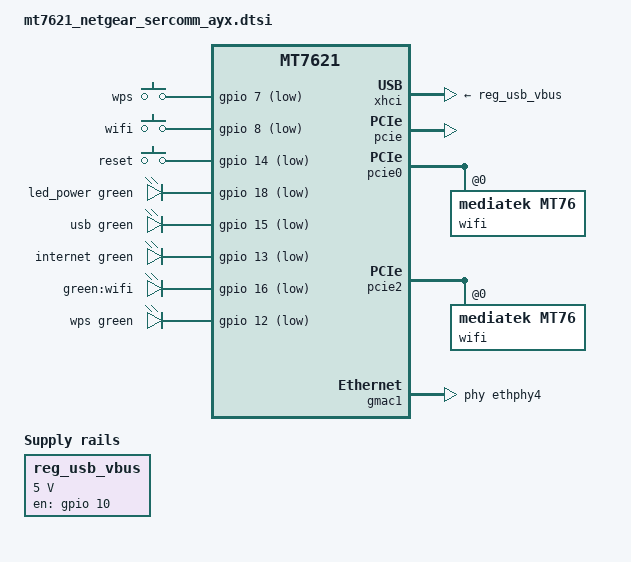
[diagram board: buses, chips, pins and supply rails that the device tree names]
// SPDX-License-Identifier: GPL-2.0-only

#include "mt7621.dtsi"

#include <dt-bindings/gpio/gpio.h>
#include <dt-bindings/input/input.h>
#include <dt-bindings/leds/common.h>

/ {
	compatible = "mediatek,mt7621-soc";

	aliases {
		led-boot = &led_power;
		led-failsafe = &led_power;
		led-running = &led_power;
		led-upgrade = &led_power;
	};

	keys {
		compatible = "gpio-keys";

		wps {
			label = "wps";
			gpios = <&gpio 7 GPIO_ACTIVE_LOW>;
			linux,code = <KEY_WPS_BUTTON>;
		};

		wifi {
			label = "wifi";
			gpios = <&gpio 8 GPIO_ACTIVE_LOW>;
			linux,code = <KEY_RFKILL>;
		};

		reset {
			label = "reset";
			gpios = <&gpio 14 GPIO_ACTIVE_LOW>;
			linux,code = <KEY_RESTART>;
		};
	};

	leds {
		compatible = "gpio-leds";

		led_power: power {
			function = LED_FUNCTION_POWER;
			color = <LED_COLOR_ID_GREEN>;
			gpios = <&gpio 18 GPIO_ACTIVE_LOW>;
		};

		usb {
			function = LED_FUNCTION_USB;
			color = <LED_COLOR_ID_GREEN>;
			gpios = <&gpio 15 GPIO_ACTIVE_LOW>;
			trigger-sources = <&xhci_ehci_port1>, <&ehci_port2>;
			linux,default-trigger = "usbport";
		};

		internet {
			function = LED_FUNCTION_WAN;
			color = <LED_COLOR_ID_GREEN>;
			gpios = <&gpio 13 GPIO_ACTIVE_LOW>;
		};

		wifi {
			label = "green:wifi";
			gpios = <&gpio 16 GPIO_ACTIVE_LOW>;
			linux,default-trigger = "phy0tpt";
		};

		wps {
			function = LED_FUNCTION_WPS;
			color = <LED_COLOR_ID_GREEN>;
			gpios = <&gpio 12 GPIO_ACTIVE_LOW>;
		};
	};

	reg_usb_vbus: regulator {
		compatible = "regulator-fixed";
		regulator-name = "usb_vbus";
		regulator-min-microvolt = <5000000>;
		regulator-max-microvolt = <5000000>;
		gpios = <&gpio 10 GPIO_ACTIVE_HIGH>;
		enable-active-high;
	};
};

&xhci {
	vbus-supply = <&reg_usb_vbus>;
};

&pcie {
	status = "okay";
};

&pcie0 {
	wifi@0,0 {
		compatible = "mediatek,mt76";
		reg = <0x0 0 0 0 0>;
		ieee80211-freq-limit = <5000000 6000000>;
		nvmem-cells = <&eeprom1>;
		nvmem-cell-names = "eeprom";
	};
};

&pcie2 {
	wifi@0,0 {
		compatible = "mediatek,mt76";
		reg = <0x0 0 0 0 0>;
		ieee80211-freq-limit = <2400000 2500000>;
		nvmem-cells = <&eeprom0>;
		nvmem-cell-names = "eeprom";
	};
};

&gmac1 {
	status = "okay";
	label = "wan";
	phy-handle = <&ethphy4>;
};

&ethphy4 {
	/delete-property/ interrupts;
};

&switch0 {
	ports {
		port@0 {
			status = "okay";
			label = "lan4";
		};

		port@1 {
			status = "okay";
			label = "lan3";
		};

		port@2 {
			status = "okay";
			label = "lan2";
		};

		port@3 {
			status = "okay";
			label = "lan1";
		};
	};
};

&state_default {
	gpio {
		groups = "uart3", "uart2", "jtag", "wdt";
		function = "gpio";
	};
};
